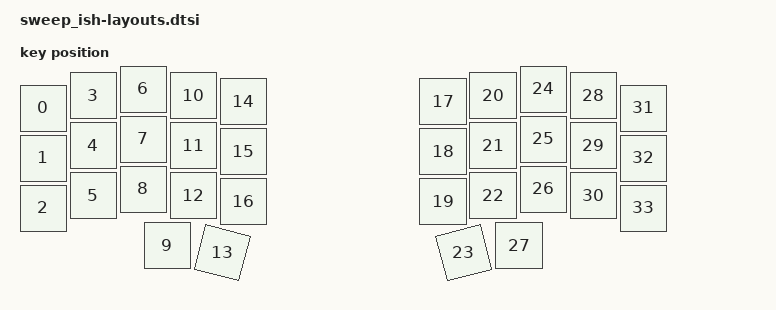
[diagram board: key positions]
#include <physical_layouts.dtsi>

/ {
    physical_layout_sweep_ish: physical_layout_sweep_ish {
        compatible = "zmk,physical-layout";
        display-name = "sweep-ish";
        keys  //                     w   h    x    y     rot    rx    ry
            = <&key_physical_attrs 100 100  100(-70)       0     0     0>
            , <&key_physical_attrs 100 100  100   38       0     0     0>
            , <&key_physical_attrs 100 100  100  138       0     0     0>
            , <&key_physical_attrs 100 100  100  238       0     0     0>
            , <&key_physical_attrs 100 100  200   13       0     0     0>
            , <&key_physical_attrs 100 100  200  113       0     0     0>
            , <&key_physical_attrs 100 100  200  213       0     0     0>
            , <&key_physical_attrs 100 100  300    0       0     0     0>
            , <&key_physical_attrs 100 100  300  100       0     0     0>
            , <&key_physical_attrs 100 100  300  200       0     0     0>
            , <&key_physical_attrs 100 100  348  313       0     0     0>
            , <&key_physical_attrs 100 100  400   13       0     0     0>
            , <&key_physical_attrs 100 100  400  113       0     0     0>
            , <&key_physical_attrs 100 100  400  213       0     0     0>
            , <&key_physical_attrs 100 100  348  313    1500   398   790>
            , <&key_physical_attrs 100 100  500   25       0     0     0>
            , <&key_physical_attrs 100 100  500  125       0     0     0>
            , <&key_physical_attrs 100 100  500  225       0     0     0>
            , <&key_physical_attrs 100 100  900   25       0     0     0>
            , <&key_physical_attrs 100 100  900  125       0     0     0>
            , <&key_physical_attrs 100 100  900  225       0     0     0>
            , <&key_physical_attrs 100 100 1000   13       0     0     0>
            , <&key_physical_attrs 100 100 1000  113       0     0     0>
            , <&key_physical_attrs 100 100 1000  213       0     0     0>
            , <&key_physical_attrs 100 100 1052  313 (-1500)  1102   790>
            , <&key_physical_attrs 100 100 1100    0       0     0     0>
            , <&key_physical_attrs 100 100 1100  100       0     0     0>
            , <&key_physical_attrs 100 100 1100  200       0     0     0>
            , <&key_physical_attrs 100 100 1052  313       0     0     0>
            , <&key_physical_attrs 100 100 1200   13       0     0     0>
            , <&key_physical_attrs 100 100 1200  113       0     0     0>
            , <&key_physical_attrs 100 100 1200  213       0     0     0>
            , <&key_physical_attrs 100 100 1300(-70)       0     0     0>
            , <&key_physical_attrs 100 100 1300   38       0     0     0>
            , <&key_physical_attrs 100 100 1300  138       0     0     0>
            , <&key_physical_attrs 100 100 1300  238       0     0     0>
            ;
    };
};
